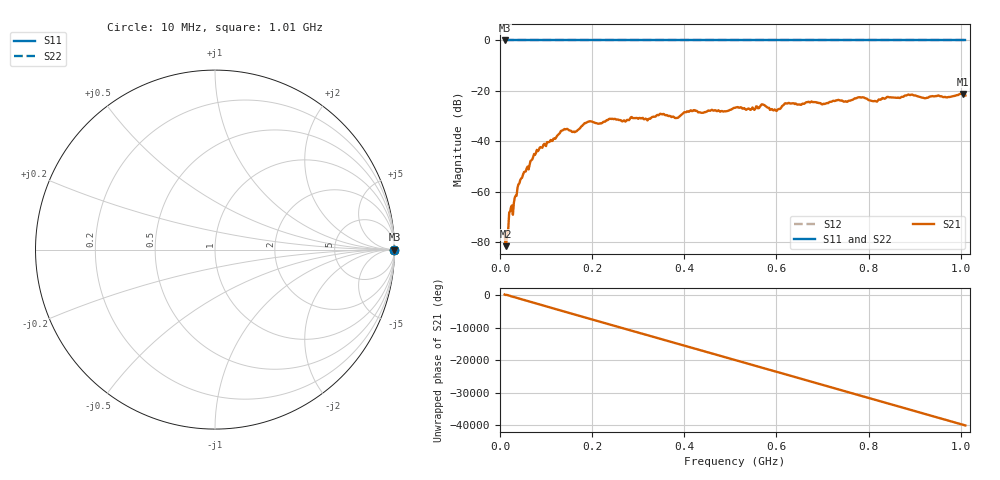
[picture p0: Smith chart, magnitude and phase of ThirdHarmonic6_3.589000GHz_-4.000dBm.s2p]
! 8/17/2025 11:56:11 AM
! C:\ANRITSUVNA\TEMP\TEMP.S2P
! CHANNEL.1
! TR.MEASUREMENT
! RAW.DATA
! RF.CORRECTION.OFF
! AVERAGING.OFF
! IF.BANDWIDTH: 5KHZ
! SWEEPTYPE:  FREQ.SWEEP(Linear)
! Reference Plane Port Info
! PORT:  PORT1  PORT2
! DISTANCE:  0  m  0  m
! TIME:  0  s  0  s
! PHASE.OFFSET:  0  deg.  0  deg.
! LOSS:  0  dB  0  dB
! REF.LOSS:  0  dB  0  dB
! REF.FREQ:  0  Hz  0  Hz
! Power Info
! POWER:  -20  dBm  -20  dBm
! EFF.POWER:  -20  dBm  -20  dBm
! SOURCE.ATTEN:  0  dB  0  dB
! TEST.ATTEN:  0  dB  0  dB
# GHZ S RI R 50.0
! FREQ.GHZ  S11RE  S11IM  S21RE  S21IM  S12RE  S12IM  S22RE  S22IM
!; PortSelection: Port_12
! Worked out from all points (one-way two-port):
!   501 points, 10 MHz to 1.01 GHz, reference 50 ohm
!   highest |S21| = -21.16 dB at 1.004 GHz (marker M1); lowest = -81.5 dB at 12 MHz (marker M2)
!   lowest |S11| = 0.0 dB at 10 MHz (marker M3)
!   |S11| at or under -10 dB: nowhere
!   |S22| runs from 0.0 to 0.0 dB; largest |S21 - S12| = 1.1
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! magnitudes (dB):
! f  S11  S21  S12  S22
! 10 MHz  0.0  -76.2  0.0  0.0
! 12 MHz  0.0  -81.5  0.0  0.0
! 16 MHz  0.0  -76.5  0.0  0.0
! 22 MHz  0.0  -67.8  0.0  0.0
! 32 MHz  0.0  -62.3  0.0  0.0
! 42 MHz  0.0  -56.6  0.0  0.0
! 76 MHz  0.0  -45.3  0.0  0.0
! 136 MHz  0.0  -35.6  0.0  0.0
! 162 MHz  0.0  -36.3  0.0  0.0
! 178 MHz  0.0  -33.9  0.0  0.0
! 194 MHz  0.0  -32.1  0.0  0.0
! 344 MHz  0.0  -29.6  0.0  0.0
! 384 MHz  0.0  -30.7  0.0  0.0
! 410 MHz  0.0  -28.3  0.0  0.0
! 510 MHz  0.0  -26.7  0.0  0.0
! 570 MHz  0.0  -25.4  0.0  0.0
! 598 MHz  0.0  -27.6  0.0  0.0
! 622 MHz  0.0  -25.0  0.0  0.0
! 678 MHz  0.0  -24.4  0.0  0.0
! 844 MHz  0.0  -22.5  0.0  0.0
! 1.004 GHz  0.0  -21.2  0.0  0.0
! 1.01 GHz  0.0  -21.8  0.0  0.0
